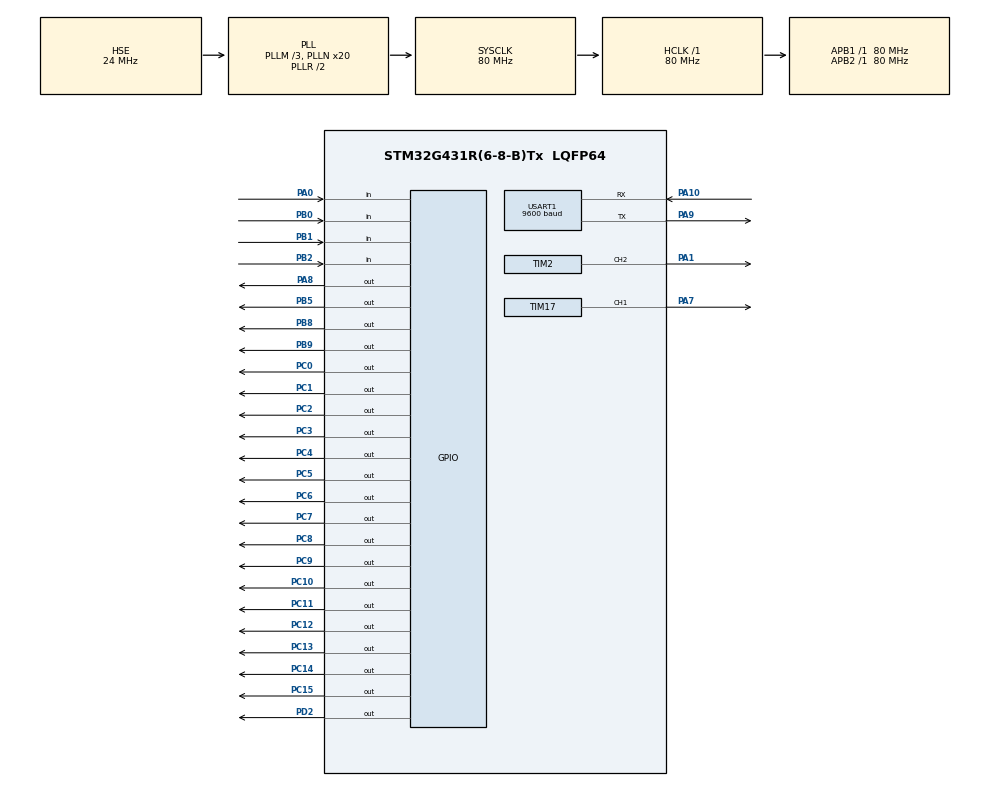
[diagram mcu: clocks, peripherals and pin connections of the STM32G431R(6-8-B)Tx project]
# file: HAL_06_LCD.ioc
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Mcu.Family=STM32G4
Mcu.Name=STM32G431R(6-8-B)Tx
Mcu.Package=LQFP64
NVIC.PriorityGroup=NVIC_PRIORITYGROUP_4
NVIC.TIM1_TRG_COM_TIM17_IRQn=true\:2\:0\:true\:false\:true\:true\:true
NVIC.TIM2_IRQn=true\:2\:0\:true\:false\:true\:true\:true
NVIC.USART1_IRQn=true\:1\:0\:true\:false\:true\:true\:true
PA0.Signal=GPIO_Input
PA1.Signal=S_TIM2_CH2
PA10.Mode=Asynchronous
PA10.Signal=USART1_RX
PA7.Signal=S_TIM17_CH1
PA8.Signal=GPIO_Output
PA9.Mode=Asynchronous
PA9.Signal=USART1_TX
PB0.Signal=GPIO_Input
PB1.Signal=GPIO_Input
PB2.Signal=GPIO_Input
PB5.Signal=GPIO_Output
PB8-BOOT0.Signal=GPIO_Output
PB9.Signal=GPIO_Output
PC0.Signal=GPIO_Output
PC1.Signal=GPIO_Output
PC10.PinState=GPIO_PIN_SET
PC10.Signal=GPIO_Output
PC11.PinState=GPIO_PIN_SET
PC11.Signal=GPIO_Output
PC12.PinState=GPIO_PIN_SET
PC12.Signal=GPIO_Output
PC13.PinState=GPIO_PIN_SET
PC13.Signal=GPIO_Output
PC14-OSC32_IN.PinState=GPIO_PIN_SET
PC14-OSC32_IN.Signal=GPIO_Output
PC15-OSC32_OUT.PinState=GPIO_PIN_SET
PC15-OSC32_OUT.Signal=GPIO_Output
PC2.Signal=GPIO_Output
PC3.Signal=GPIO_Output
PC4.Signal=GPIO_Output
PC5.Signal=GPIO_Output
PC6.Signal=GPIO_Output
PC7.Signal=GPIO_Output
PC8.PinState=GPIO_PIN_SET
PC8.Signal=GPIO_Output
PC9.PinState=GPIO_PIN_SET
PC9.Signal=GPIO_Output
PD2.Signal=GPIO_Output
PF0-OSC_IN.Mode=HSE-External-Oscillator
PF0-OSC_IN.Signal=RCC_OSC_IN
PF1-OSC_OUT.Mode=HSE-External-Oscillator
PF1-OSC_OUT.Signal=RCC_OSC_OUT
ProjectManager.HeapSize=0x200
ProjectManager.StackSize=0x400
ProjectManager.TargetToolchain=MDK-ARM V5.27
RCC.ADC12Freq_Value=80000000
RCC.AHBFreq_Value=80000000
RCC.APB1Freq_Value=80000000
RCC.APB1TimFreq_Value=80000000
RCC.APB2Freq_Value=80000000
RCC.APB2TimFreq_Value=80000000
RCC.CortexFreq_Value=80000000
RCC.EXTERNAL_CLOCK_VALUE=12288000
RCC.HCLKFreq_Value=80000000
RCC.HSE_VALUE=24000000
RCC.HSI48_VALUE=48000000
RCC.HSI_VALUE=16000000
RCC.LSE_VALUE=32768
RCC.PLLM=RCC_PLLM_DIV3
RCC.PLLN=20
RCC.PLLSourceVirtual=RCC_PLLSOURCE_HSE
RCC.SYSCLKFreq_VALUE=80000000
RCC.SYSCLKSource=RCC_SYSCLKSOURCE_PLLCLK
RCC.USBFreq_Value=80000000
RCC.VCOOutputFreq_Value=160000000
SH.S_TIM17_CH1.0=TIM17_CH1,PWM Generation1 CH1
SH.S_TIM2_CH2.0=TIM2_CH2,PWM Generation2 CH2
TIM17.Channel=TIM_CHANNEL_1
TIM17.PeriodNoDither=999
TIM17.Prescaler=79
TIM17.PulseNoDither_1=100
TIM2.Channel-PWM\ Generation2\ CH2=TIM_CHANNEL_2
TIM2.PeriodNoDither=999
TIM2.Prescaler=79
TIM2.PulseNoDither_2=100
USART1.BaudRate=9600
USART1.VirtualMode-Asynchronous=VM_ASYNC
VP_SYS_VS_DBSignals.Mode=DisableDeadBatterySignals
VP_TIM17_VS_ClockSourceINT.Mode=Enable_Timer
board=custom

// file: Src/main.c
/* USER CODE BEGIN Header */
/**
  ******************************************************************************
  * @file           : main.c
  * @brief          : Main program body
  ******************************************************************************
  * @attention
  *
  * <h2><center>&copy; Copyright (c) 2021 STMicroelectronics.
  * All rights reserved.</center></h2>
  *
  * This software component is licensed by ST under BSD 3-Clause license,
  * the "License"; You may not use this file except in compliance with the
  * License. You may obtain a copy of the License at:
  *                        opensource.org/licenses/BSD-3-Clause
  *
  ******************************************************************************
  */
/* USER CODE END Header */

#include "main.h"
#include "BSP\tim.h"
#include "BSP\usart.h"
#include "BSP\gpio.h"
#include "BSP\Led&Key.h"
/* USER CODE BEGIN Includes */
__IO uint32_t uwTick_Led_Set_Point=0;
__IO uint32_t uwTick_Key_Set_Point=0;
__IO uint32_t uwTick_Lcd_Set_Point=0;

uint8_t ucLed;
uint8_t Key_Val,Key_Down,Key_Up,Key_Old;
uint8_t Lcd_Disp_String[21];
uint8_t count=0;
uint8_t str[40];
uint8_t rx_Buffer;
uint8_t Rx_Buffer[7];
/* USER CODE END Includes */

/* USER CODE BEGIN PTD */
uint8_t interface_mode=0;
uint16_t PA1_F=1;
uint16_t PA7_F=1;
uint16_t PA1_Fre=999;
uint16_t PA7_Fre=999;
uint16_t PA1_P=1;
uint16_t PA7_P=1;
uint16_t PA1_Plu=0;
uint16_t PA7_Plu=0;
uint8_t Mode=0;
/* USER CODE END PTD */

void SystemClock_Config(void);
/* USER CODE BEGIN PFP */
void Led_Proc(void);
void Key_Proc(void);
void Lcd_Proc(void);
/* USER CODE END PFP */

int main(void)
{

  /* MCU Configuration--------------------------------------------------------*/

  /* Reset of all peripherals, Initializes the Flash interface and the Systick. */
  HAL_Init();

  /* Configure the system clock */
  SystemClock_Config();

  /* Initialize all configured peripherals */
  MX_GPIO_Init();
  MX_TIM2_Init();
  MX_TIM17_Init();
  MX_USART1_UART_Init();
  /* USER CODE BEGIN 2 */

	LCD_Init();
	HAL_TIM_PWM_Start(&htim2,TIM_CHANNEL_2);
	HAL_TIM_PWM_Start(&htim17,TIM_CHANNEL_1);
	HAL_UART_Receive_IT(&huart1,(uint8_t *)(&rx_Buffer),1);
  /* USER CODE END 2 */

  /* Infinite loop */
  /* USER CODE BEGIN WHILE */

	LCD_Clear(Black);
	LCD_SetBackColor(Black);
	LCD_SetTextColor(White);
  while (1)
  {
    /* USER CODE END WHILE */

    /* USER CODE BEGIN 3 */
		Led_Proc();
		Key_Proc();
		Lcd_Proc();
  }
  /* USER CODE END 3 */
}

void SystemClock_Config(void)
{
  RCC_OscInitTypeDef RCC_OscInitStruct = {0};
  RCC_ClkInitTypeDef RCC_ClkInitStruct = {0};
  RCC_PeriphCLKInitTypeDef PeriphClkInit = {0};

  /** Configure the main internal regulator output voltage
  */
  HAL_PWREx_ControlVoltageScaling(PWR_REGULATOR_VOLTAGE_SCALE1);
  /** Initializes the CPU, AHB and APB busses clocks
  */
  RCC_OscInitStruct.OscillatorType = RCC_OSCILLATORTYPE_HSE;
  RCC_OscInitStruct.HSEState = RCC_HSE_ON;
  RCC_OscInitStruct.PLL.PLLState = RCC_PLL_ON;
  RCC_OscInitStruct.PLL.PLLSource = RCC_PLLSOURCE_HSE;
  RCC_OscInitStruct.PLL.PLLM = RCC_PLLM_DIV3;
  RCC_OscInitStruct.PLL.PLLN = 20;
  RCC_OscInitStruct.PLL.PLLP = RCC_PLLP_DIV2;
  RCC_OscInitStruct.PLL.PLLQ = RCC_PLLQ_DIV2;
  RCC_OscInitStruct.PLL.PLLR = RCC_PLLR_DIV2;
  if (HAL_RCC_OscConfig(&RCC_OscInitStruct) != HAL_OK)
  {
    Error_Handler();
  }
  /** Initializes the CPU, AHB and APB busses clocks
  */
  RCC_ClkInitStruct.ClockType = RCC_CLOCKTYPE_HCLK|RCC_CLOCKTYPE_SYSCLK
                              |RCC_CLOCKTYPE_PCLK1|RCC_CLOCKTYPE_PCLK2;
  RCC_ClkInitStruct.SYSCLKSource = RCC_SYSCLKSOURCE_PLLCLK;
  RCC_ClkInitStruct.AHBCLKDivider = RCC_SYSCLK_DIV1;
  RCC_ClkInitStruct.APB1CLKDivider = RCC_HCLK_DIV1;
  RCC_ClkInitStruct.APB2CLKDivider = RCC_HCLK_DIV1;

  if (HAL_RCC_ClockConfig(&RCC_ClkInitStruct, FLASH_LATENCY_3) != HAL_OK)
  {
    Error_Handler();
  }
  /** Initializes the peripherals clocks
  */
  PeriphClkInit.PeriphClockSelection = RCC_PERIPHCLK_USART1;
  PeriphClkInit.Usart1ClockSelection = RCC_USART1CLKSOURCE_PCLK2;
  if (HAL_RCCEx_PeriphCLKConfig(&PeriphClkInit) != HAL_OK)
  {
    Error_Handler();
  }
}

/* USER CODE BEGIN 4 */
void Led_Proc(void)
{
	if((uwTick-uwTick_Led_Set_Point)<100)return;
	uwTick_Led_Set_Point=uwTick;
	if(PA1_F==PA7_F)
	{
		if(interface_mode==0)
		{
			ucLed &=0x00;
			ucLed |=0x01;
		}
		else
		{
			ucLed &=0x00;
			ucLed |=0x02;
		}
	}
	else if(PA1_F>PA7_F)
	{
		ucLed ^=0x01;
	}
	else
	{
		ucLed ^=0x02;
	}
	if(Mode==0)
	{
		ucLed &=0x03;
		ucLed |=0x04;
	}
	else
	{
		ucLed &=0x03;
		ucLed |=0x00;
	}
	Led_Disp(ucLed);
}

void Key_Proc(void)
{
	if((uwTick-uwTick_Key_Set_Point)<100)return;
	uwTick_Key_Set_Point=uwTick;

	Key_Val=Key_Scan();
	Key_Down=Key_Val&(Key_Old^Key_Val);
	Key_Up=~Key_Val&(Key_Old^Key_Val);
	Key_Old=Key_Val;

	switch(Key_Down)
	{
		case 1:
			if(interface_mode==0)
			{
				PA1_F+=1;
				PA1_Fre=((1000000.0/(PA1_F*1000))-1);
				__HAL_TIM_SET_AUTORELOAD(&htim2,PA1_Fre);
				if(PA1_F==11)
				{
					PA1_F=1;
					__HAL_TIM_SET_AUTORELOAD(&htim2,999);
				}
			}
			else
			{
				PA7_F+=1;
				PA7_Fre=((1000000.0/(PA7_F*1000))-1);
				__HAL_TIM_SET_AUTORELOAD(&htim17,PA7_Fre);
				if(PA7_F==11)
				{
					PA7_F=1;
					__HAL_TIM_SET_AUTORELOAD(&htim17,999);
				}
			}
		break;
		case 2:
			if(interface_mode==0)
			{
				PA1_P+=1;
				PA1_Plu=((PA1_Fre+1)*(PA1_P*0.1));
				__HAL_TIM_SET_COMPARE(&htim2,TIM_CHANNEL_2,PA1_Plu);
				if(PA1_P>9)
				{
					PA1_P=1;
					__HAL_TIM_SET_COMPARE(&htim2,TIM_CHANNEL_2,100);
				}
			}
			else
			{
				PA7_P+=1;
				PA7_Plu=((PA7_Fre+1)*(PA7_P*0.1));
				__HAL_TIM_SET_COMPARE(&htim17,TIM_CHANNEL_1,PA7_Plu);
				if(PA7_P>9)
				{
					PA7_P=1;
					__HAL_TIM_SET_COMPARE(&htim17,TIM_CHANNEL_1,100);
				}
			}
		break;
		case 3:
			if(Mode==0)
			{
				interface_mode^=1;
				LCD_Clear(Black);
			}
		break;
		case 4:
			Mode^=1;

//			else
//			{
//				ucLed
//			}
		break;
	}

}

void Lcd_Proc(void)
{
	if((uwTick-uwTick_Lcd_Set_Point)<100)return;
	uwTick_Lcd_Set_Point=uwTick;

	if(interface_mode==0)
	{
		sprintf(Lcd_Disp_String,"        PA1");
		LCD_DisplayStringLine(Line3,Lcd_Disp_String);
		sprintf(Lcd_Disp_String,"      F:%4dHz ",(PA1_F*1000));
		LCD_DisplayStringLine(Line5,Lcd_Disp_String);
		sprintf(Lcd_Disp_String,"      D:%2d%%",(PA1_P*10));
		LCD_DisplayStringLine(Line7,Lcd_Disp_String);
	}
	else
	{
		sprintf(Lcd_Disp_String,"        PA7");
		LCD_DisplayStringLine(Line3,Lcd_Disp_String);
		sprintf(Lcd_Disp_String,"      F:%4dHz ",(PA7_F*1000));
		LCD_DisplayStringLine(Line5,Lcd_Disp_String);
		sprintf(Lcd_Disp_String,"      D:%2d%%",(PA7_P*10));
		LCD_DisplayStringLine(Line7,Lcd_Disp_String);
	}

}

void HAL_UART_RxCpltCallback(UART_HandleTypeDef *huart)
{
	Rx_Buffer[count]=rx_Buffer;
	count++;
	if(count==1)
	{
		if(Mode==1)
		{
			if((Rx_Buffer[0]=='#')||(Rx_Buffer[0]=='@'))
			{
				if(Rx_Buffer[0]=='@')
				{
					interface_mode=0;
				}
				if(Rx_Buffer[0]=='#')
				{
					interface_mode=1;
				}
			}
			else
			{
				sprintf(str,"ERROR\r\n");
			}
		}
		else
		{
			sprintf(str,"KEY CONTROL\r\n");
		}
		HAL_UART_Transmit(&huart1,(uint8_t *)str,strlen(str),50);
		count=0;
  }
	HAL_UART_Receive_IT(&huart1,(uint8_t *)(&rx_Buffer),1);
}

/* USER CODE END 4 */

void Error_Handler(void)
{
}

/************************ (C) COPYRIGHT STMicroelectronics *****END OF FILE****/
